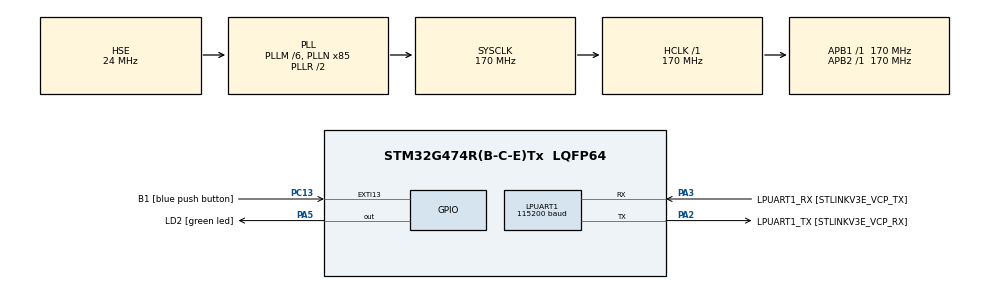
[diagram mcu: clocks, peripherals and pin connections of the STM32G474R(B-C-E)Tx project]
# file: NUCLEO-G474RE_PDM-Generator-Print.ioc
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Mcu.Family=STM32G4
RCC.PLLSourceVirtual=RCC_PLLSOURCE_HSE
PC15-OSC32_OUT.Mode=LSE-External-Oscillator
RCC.CortexFreq_Value=170000000
PC13.Signal=GPXTI13
PA14.GPIO_Label=T_SWCLK
LPUART1.WordLength=UART_WORDLENGTH_8B
RCC.EXTERNAL_CLOCK_VALUE=12288000
PC13.GPIO_Label=B1 [blue push button]
PC14-OSC32_IN.Signal=RCC_OSC32_IN
RCC.SYSCLKSource=RCC_SYSCLKSOURCE_PLLCLK
ProjectManager.StackSize=0x400
PA13.Signal=SYS_JTMS-SWDIO
PA3.Mode=Asynchronous
ProjectManager.TargetToolchain=STM32CubeIDE
RCC.HCLKFreq_Value=170000000
RCC.APB2TimFreq_Value=170000000
RCC.USBFreq_Value=170000000
PC15-OSC32_OUT.Signal=RCC_OSC32_OUT
RCC.AHBFreq_Value=170000000
PF0-OSC_IN.Mode=HSE-External-Oscillator
NVIC.EXTI15_10_IRQn=true\:0\:0\:false\:false\:true\:true\:true
PA5.Signal=GPIO_Output
RCC.HSE_VALUE=24000000
PB3.Mode=Trace_Asynchronous_SW
board=NUCLEO-G474RE
RCC.VCOOutputFreq_Value=340000000
RCC.ADC12Freq_Value=170000000
RCC.RTCClockSelection=RCC_RTCCLKSOURCE_LSE
RCC.ADC345Freq_Value=170000000
RCC.APB2Freq_Value=170000000
PC14-OSC32_IN.Mode=LSE-External-Oscillator
PA14.Mode=Trace_Asynchronous_SW
VP_SYS_VS_DBSignals.Mode=DisableDeadBatterySignals
PA13.Mode=Trace_Asynchronous_SW
Mcu.Name=STM32G474R(B-C-E)Tx
LPUART1.BaudRate=115200
PA2.Signal=LPUART1_TX
PA13.GPIO_Label=T_SWDIO
PB3.Signal=SYS_JTDO-SWO
RCC.SYSCLKFreq_VALUE=170000000
Mcu.Package=LQFP64
PA5.GPIO_Label=LD2 [green led]
PA2.GPIO_Label=LPUART1_TX [STLINKV3E_VCP_RX]
PA14.Signal=SYS_JTCK-SWCLK
ProjectManager.HeapSize=0x200
RCC.HSI_VALUE=16000000
NVIC.PriorityGroup=NVIC_PRIORITYGROUP_4
RCC.PLLM=RCC_PLLM_DIV6
RCC.PLLN=85
RCC.APB1TimFreq_Value=170000000
PA2.Mode=Asynchronous
PF0-OSC_IN.Signal=RCC_OSC_IN
PF1-OSC_OUT.Mode=HSE-External-Oscillator
RCC.APB1Freq_Value=170000000
PF1-OSC_OUT.Signal=RCC_OSC_OUT
RCC.HSI48_VALUE=48000000
PA3.GPIO_Label=LPUART1_RX [STLINKV3E_VCP_TX]
PA3.Signal=LPUART1_RX
PB3.GPIO_Label=T_SWO

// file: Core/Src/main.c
/* USER CODE BEGIN Header */
/**
  ******************************************************************************
  * @file           : main.c
  * @brief          : Main program body
  ******************************************************************************
  * @attention
  *
  * <h2><center>&copy; Copyright (c) 2021 STMicroelectronics.
  * All rights reserved.</center></h2>
  *
  * This software component is licensed by ST under BSD 3-Clause license,
  * the "License"; You may not use this file except in compliance with the
  * License. You may obtain a copy of the License at:
  *                        opensource.org/licenses/BSD-3-Clause
  *
  ******************************************************************************
  */
/* USER CODE END Header */
#include "main.h"

/* USER CODE BEGIN Includes */

#include <stdio.h>
#include "pdm_tones.h"

/* USER CODE END Includes */

UART_HandleTypeDef hlpuart1;

void SystemClock_Config(void);
static void MX_GPIO_Init(void);
static void MX_LPUART1_UART_Init(void);
/* USER CODE BEGIN PFP */

#define PUTCHAR_PROTOTYPE int __io_putchar(int ch)

/* USER CODE END PFP */

int main(void)
{

  /* MCU Configuration--------------------------------------------------------*/

  /* Reset of all peripherals, Initializes the Flash interface and the Systick. */
  HAL_Init();

  /* Configure the system clock */
  SystemClock_Config();

  /* Initialize all configured peripherals */
  MX_GPIO_Init();
  MX_LPUART1_UART_Init();
  /* USER CODE BEGIN 2 */

	printf("tone500Hz_pdmdata\n");
	for (uint16_t Index = 0; Index < sizeof(tone500Hz_pdmdata); Index++)
	{
	  printf("%d %d\n",Index, tone500Hz_pdmdata[Index]);
	}

	/* Prepare PDM buffer to be sent via SPI */
	// first bit to LSB
	for(uint16_t i = 0; i < sizeof(tone500Hz_pdmdata); i++){
		pdmBuffer8_2000[i >> 3] |= (tone500Hz_pdmdata[i] << (i & 7));
	}

	printf("pdmBuffer8_tone500Hz_pdmdata first bit to LSB\n");
	for (uint16_t Index = 0; Index < sizeof(pdmBuffer8_2000); Index++)
	{
	  printf("%d %d\n",Index, pdmBuffer8_2000[Index]);
	}

//  // troubleshooting MSB
//	uint8_t temp_data = 1;
//	uint16_t total_msb = 0, total_lsb, cntr = 8;
//	printf("===============\n");
//	for(uint16_t i = 0; i < cntr; i++){
//		pdmBuffer8_2000[i] = pdmBuffer8_2000[i - 1] + (tone500Hz_pdmdata_temp[i] << (i & 7));
//		total_lsb = pdmBuffer8_2000[i];
//		total_msb = (total_msb << 1) + tone500Hz_pdmdata_temp[i];
//	}
//
//	printf("total_lsb %d\n", total_lsb);
//	printf("total_msb %d\n", total_msb);

  	/* Prepare PDM buffer to be sent via SPI */
  	// first bit to MSB
  	for(uint16_t i = 0; i < sizeof(tone500Hz_pdmdata); i++){
  		pdmBuffer8_2000[i >> 3] = (pdmBuffer8_2000[i >> 3] << 1) + tone500Hz_pdmdata[i];
  	}

  	printf("pdmBuffer8_tone500Hz_pdmdata first bit to MSB\n");
  	for (uint16_t Index = 0; Index < sizeof(pdmBuffer8_2000); Index++)
  	{
  	  printf("%d %d\n",Index, pdmBuffer8_2000[Index]);
  	}

//	printf("tone500Hz_pdmdata\n");
//	for (uint16_t Index = 0; Index < sizeof(tone500Hz_pdmdata); Index++)
//	{
//	  printf("%d %d\n",Index, tone500Hz_pdmdata[Index]);
//	}

//	/* Prepare PDM buffer to be sent via SPI */
//	// first bit to LSB
//	for(uint16_t i = 0; i < sizeof(tone500Hz_pdmdata); i++)
//	{
//		pdmBuffer8_2000[i >> 3] = pdmBuffer8_2000[i >> 3] << (i & 7);
//		pdmBuffer8_2000[i >> 3] |= tone500Hz_pdmdata[i];
////		pdmBuffer8_2000[i >> 3] |= (tone500Hz_pdmdata[i] << (i & 7));
//	}
//
//	printf("pdmBuffer8_tone500Hz_pdmdata first bit to LSB\n");
//	for (uint16_t Index = 0; Index < sizeof(pdmBuffer8_2000); Index++)
//	{
//	  printf("%d %d\n",Index, pdmBuffer8_2000[Index]);
//	}

//	printf("tone500HzA4_pdmdata\n");
//	for (uint16_t Index = 0; Index < sizeof(tone500HzA4_pdmdata); Index++)
//	{
//	  printf("%d %d\n",Index, tone500HzA4_pdmdata[Index]);
//	}
//
//	printf("tone500HzA8_pdmdata\n");
//	for (uint16_t Index = 0; Index < sizeof(tone500HzA8_pdmdata); Index++)
//	{
//	  printf("%d %d\n",Index, tone500HzA8_pdmdata[Index]);
//	}
//
//	printf("tone500HzA16_pdmdata\n");
//	for (uint16_t Index = 0; Index < sizeof(tone500HzA16_pdmdata); Index++)
//	{
//	  printf("%d %d\n",Index, tone500HzA16_pdmdata[Index]);
//	}
//
//	printf("tone500HzA20_pdmdata\n");
//	for (uint16_t Index = 0; Index < sizeof(tone500HzA20_pdmdata); Index++)
//	{
//	  printf("%d %d\n",Index, tone500HzA20_pdmdata[Index]);
//	}
//
//	printf("tone512HzA8_pdmdata\n");
//	for (uint16_t Index = 0; Index < sizeof(tone512HzA8_pdmdata); Index++)
//	{
//	  printf("%d %d\n",Index, tone512HzA8_pdmdata[Index]);
//	}
//
//	printf("tone512HzA20_pdmdata\n");
//	for (uint16_t Index = 0; Index < sizeof(tone512HzA20_pdmdata); Index++)
//	{
//	  printf("%d %d\n",Index, tone512HzA20_pdmdata[Index]);
//	}

  /* USER CODE END 2 */

  /* Infinite loop */
  while (1)
  {

  }
}

void SystemClock_Config(void)
{
  RCC_OscInitTypeDef RCC_OscInitStruct = {0};
  RCC_ClkInitTypeDef RCC_ClkInitStruct = {0};
  RCC_PeriphCLKInitTypeDef PeriphClkInit = {0};

  /** Configure the main internal regulator output voltage
  */
  HAL_PWREx_ControlVoltageScaling(PWR_REGULATOR_VOLTAGE_SCALE1_BOOST);
  /** Initializes the RCC Oscillators according to the specified parameters
  * in the RCC_OscInitTypeDef structure.
  */
  RCC_OscInitStruct.OscillatorType = RCC_OSCILLATORTYPE_HSE;
  RCC_OscInitStruct.HSEState = RCC_HSE_ON;
  RCC_OscInitStruct.PLL.PLLState = RCC_PLL_ON;
  RCC_OscInitStruct.PLL.PLLSource = RCC_PLLSOURCE_HSE;
  RCC_OscInitStruct.PLL.PLLM = RCC_PLLM_DIV6;
  RCC_OscInitStruct.PLL.PLLN = 85;
  RCC_OscInitStruct.PLL.PLLP = RCC_PLLP_DIV2;
  RCC_OscInitStruct.PLL.PLLQ = RCC_PLLQ_DIV2;
  RCC_OscInitStruct.PLL.PLLR = RCC_PLLR_DIV2;
  if (HAL_RCC_OscConfig(&RCC_OscInitStruct) != HAL_OK)
  {
    Error_Handler();
  }
  /** Initializes the CPU, AHB and APB buses clocks
  */
  RCC_ClkInitStruct.ClockType = RCC_CLOCKTYPE_HCLK|RCC_CLOCKTYPE_SYSCLK
                              |RCC_CLOCKTYPE_PCLK1|RCC_CLOCKTYPE_PCLK2;
  RCC_ClkInitStruct.SYSCLKSource = RCC_SYSCLKSOURCE_PLLCLK;
  RCC_ClkInitStruct.AHBCLKDivider = RCC_SYSCLK_DIV1;
  RCC_ClkInitStruct.APB1CLKDivider = RCC_HCLK_DIV1;
  RCC_ClkInitStruct.APB2CLKDivider = RCC_HCLK_DIV1;

  if (HAL_RCC_ClockConfig(&RCC_ClkInitStruct, FLASH_LATENCY_4) != HAL_OK)
  {
    Error_Handler();
  }
  /** Initializes the peripherals clocks
  */
  PeriphClkInit.PeriphClockSelection = RCC_PERIPHCLK_LPUART1;
  PeriphClkInit.Lpuart1ClockSelection = RCC_LPUART1CLKSOURCE_PCLK1;
  if (HAL_RCCEx_PeriphCLKConfig(&PeriphClkInit) != HAL_OK)
  {
    Error_Handler();
  }
}

static void MX_LPUART1_UART_Init(void)
{

  hlpuart1.Instance = LPUART1;
  hlpuart1.Init.BaudRate = 115200;
  hlpuart1.Init.WordLength = UART_WORDLENGTH_8B;
  hlpuart1.Init.StopBits = UART_STOPBITS_1;
  hlpuart1.Init.Parity = UART_PARITY_NONE;
  hlpuart1.Init.Mode = UART_MODE_TX_RX;
  hlpuart1.Init.HwFlowCtl = UART_HWCONTROL_NONE;
  hlpuart1.Init.OneBitSampling = UART_ONE_BIT_SAMPLE_DISABLE;
  hlpuart1.Init.ClockPrescaler = UART_PRESCALER_DIV1;
  hlpuart1.AdvancedInit.AdvFeatureInit = UART_ADVFEATURE_NO_INIT;
  if (HAL_UART_Init(&hlpuart1) != HAL_OK)
  {
    Error_Handler();
  }
  if (HAL_UARTEx_SetTxFifoThreshold(&hlpuart1, UART_TXFIFO_THRESHOLD_1_8) != HAL_OK)
  {
    Error_Handler();
  }
  if (HAL_UARTEx_SetRxFifoThreshold(&hlpuart1, UART_RXFIFO_THRESHOLD_1_8) != HAL_OK)
  {
    Error_Handler();
  }
  if (HAL_UARTEx_DisableFifoMode(&hlpuart1) != HAL_OK)
  {
    Error_Handler();
  }

}

static void MX_GPIO_Init(void)
{
  GPIO_InitTypeDef GPIO_InitStruct = {0};

  /* GPIO Ports Clock Enable */
  __HAL_RCC_GPIOC_CLK_ENABLE();
  __HAL_RCC_GPIOF_CLK_ENABLE();
  __HAL_RCC_GPIOA_CLK_ENABLE();
  __HAL_RCC_GPIOB_CLK_ENABLE();

  /*Configure GPIO pin Output Level */
  HAL_GPIO_WritePin(LD2_GPIO_Port, LD2_Pin, GPIO_PIN_RESET);

  /*Configure GPIO pin : B1_Pin */
  GPIO_InitStruct.Pin = B1_Pin;
  GPIO_InitStruct.Mode = GPIO_MODE_IT_RISING;
  GPIO_InitStruct.Pull = GPIO_NOPULL;
  HAL_GPIO_Init(B1_GPIO_Port, &GPIO_InitStruct);

  /*Configure GPIO pin : LD2_Pin */
  GPIO_InitStruct.Pin = LD2_Pin;
  GPIO_InitStruct.Mode = GPIO_MODE_OUTPUT_PP;
  GPIO_InitStruct.Pull = GPIO_NOPULL;
  GPIO_InitStruct.Speed = GPIO_SPEED_FREQ_LOW;
  HAL_GPIO_Init(LD2_GPIO_Port, &GPIO_InitStruct);

  /* EXTI interrupt init*/
  HAL_NVIC_SetPriority(EXTI15_10_IRQn, 0, 0);
  HAL_NVIC_EnableIRQ(EXTI15_10_IRQn);

}

/* USER CODE BEGIN 4 */

PUTCHAR_PROTOTYPE
{
  /* Place your implementation of fputc here */
  /* e.g. write a character to the LPUART1 and Loop until the end of transmission */
  HAL_UART_Transmit(&hlpuart1, (uint8_t *)&ch, 1, 0xFFFF);

  return ch;
}

/* USER CODE END 4 */

void Error_Handler(void)
{
  __disable_irq();
  while (1)
  {
  }
}

/************************ (C) COPYRIGHT STMicroelectronics *****END OF FILE****/
